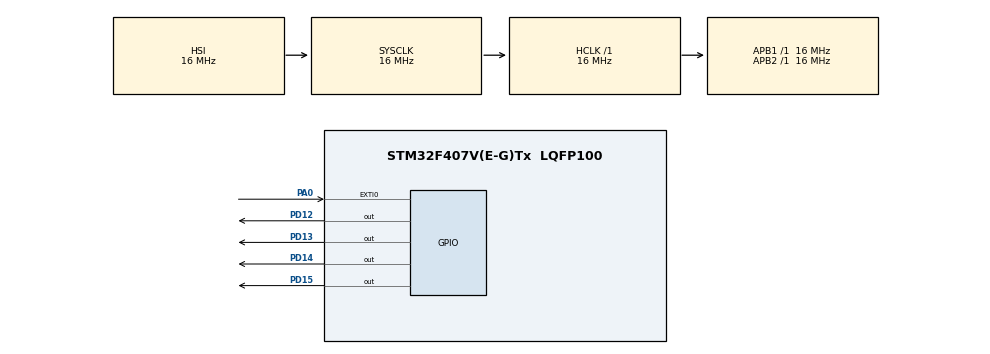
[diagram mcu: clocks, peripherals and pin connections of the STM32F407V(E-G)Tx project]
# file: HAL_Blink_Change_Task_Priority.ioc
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FREERTOS.Tasks01=Task1,1,128,Task1_Handler,Default,NULL,Dynamic,NULL,NULL;Task2,2,128,Task2_Handler,Default,NULL,Dynamic,NULL,NULL
Mcu.Family=STM32F4
Mcu.Name=STM32F407V(E-G)Tx
Mcu.Package=LQFP100
NVIC.EXTI0_IRQn=true\:5\:0\:false\:false\:true\:true\:true\:true\:true
NVIC.PriorityGroup=NVIC_PRIORITYGROUP_4
PA0-WKUP.Signal=GPXTI0
PD12.Signal=GPIO_Output
PD13.Signal=GPIO_Output
PD14.Signal=GPIO_Output
PD15.Signal=GPIO_Output
ProjectManager.HeapSize=0x200
ProjectManager.StackSize=0x400
ProjectManager.TargetToolchain=STM32CubeIDE
RCC.AHBFreq_Value=16000000
RCC.APB1Freq_Value=16000000
RCC.APB2Freq_Value=16000000
RCC.CortexFreq_Value=16000000
RCC.HSE_VALUE=25000000
RCC.HSI_VALUE=16000000
RCC.LSE_VALUE=32768
RCC.SYSCLKFreq_VALUE=16000000
RCC.VCOOutputFreq_Value=192000000
VP_FREERTOS_VS_CMSIS_V1.Mode=CMSIS_V1
board=custom

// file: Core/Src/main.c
/* USER CODE BEGIN Header */
/**
  ******************************************************************************
  * @file           : main.c
  * @brief          : Main program body
  ******************************************************************************
  * @attention
  *
  * Copyright (c) 2022 STMicroelectronics.
  * All rights reserved.
  *
  * This software is licensed under terms that can be found in the LICENSE file
  * in the root directory of this software component.
  * If no LICENSE file comes with this software, it is provided AS-IS.
  *
  ******************************************************************************
  */
/* USER CODE END Header */
#include "main.h"
#include "cmsis_os.h"

 osThreadId Task1Handle;
osThreadId Task2Handle;
/* USER CODE BEGIN PV */
uint8_t buttonState;
/* USER CODE END PV */

void SystemClock_Config(void);
static void MX_GPIO_Init(void);
void Task1_Handler(void const * argument);
void Task2_Handler(void const * argument);

int main(void)
{

  /* MCU Configuration--------------------------------------------------------*/

  /* Reset of all peripherals, Initializes the Flash interface and the Systick. */
  HAL_Init();

  /* Configure the system clock */
  SystemClock_Config();

  /* Initialize all configured peripherals */
  MX_GPIO_Init();

  /* Create the thread(s) */
  /* definition and creation of Task1 */
  osThreadDef(Task1, Task1_Handler, osPriorityAboveNormal, 0, 128);
  Task1Handle = osThreadCreate(osThread(Task1), NULL);

  /* definition and creation of Task2 */
  osThreadDef(Task2, Task2_Handler, osPriorityHigh, 0, 128);
  Task2Handle = osThreadCreate(osThread(Task2), NULL);

  /* Start scheduler */
  osKernelStart();

  /* We should never get here as control is now taken by the scheduler */
  /* Infinite loop */
  while (1)
  {

  }
}

void SystemClock_Config(void)
{
  RCC_OscInitTypeDef RCC_OscInitStruct = {0};
  RCC_ClkInitTypeDef RCC_ClkInitStruct = {0};

  /** Configure the main internal regulator output voltage
  */
  __HAL_RCC_PWR_CLK_ENABLE();
  __HAL_PWR_VOLTAGESCALING_CONFIG(PWR_REGULATOR_VOLTAGE_SCALE1);

  /** Initializes the RCC Oscillators according to the specified parameters
  * in the RCC_OscInitTypeDef structure.
  */
  RCC_OscInitStruct.OscillatorType = RCC_OSCILLATORTYPE_HSI;
  RCC_OscInitStruct.HSIState = RCC_HSI_ON;
  RCC_OscInitStruct.HSICalibrationValue = RCC_HSICALIBRATION_DEFAULT;
  RCC_OscInitStruct.PLL.PLLState = RCC_PLL_NONE;
  if (HAL_RCC_OscConfig(&RCC_OscInitStruct) != HAL_OK)
  {
    Error_Handler();
  }

  /** Initializes the CPU, AHB and APB buses clocks
  */
  RCC_ClkInitStruct.ClockType = RCC_CLOCKTYPE_HCLK|RCC_CLOCKTYPE_SYSCLK
                              |RCC_CLOCKTYPE_PCLK1|RCC_CLOCKTYPE_PCLK2;
  RCC_ClkInitStruct.SYSCLKSource = RCC_SYSCLKSOURCE_HSI;
  RCC_ClkInitStruct.AHBCLKDivider = RCC_SYSCLK_DIV1;
  RCC_ClkInitStruct.APB1CLKDivider = RCC_HCLK_DIV1;
  RCC_ClkInitStruct.APB2CLKDivider = RCC_HCLK_DIV1;

  if (HAL_RCC_ClockConfig(&RCC_ClkInitStruct, FLASH_LATENCY_0) != HAL_OK)
  {
    Error_Handler();
  }
}

static void MX_GPIO_Init(void)
{
  GPIO_InitTypeDef GPIO_InitStruct = {0};

  /* GPIO Ports Clock Enable */
  __HAL_RCC_GPIOA_CLK_ENABLE();
  __HAL_RCC_GPIOD_CLK_ENABLE();

  /*Configure GPIO pin Output Level */
  HAL_GPIO_WritePin(GPIOD, GPIO_PIN_12|GPIO_PIN_13|GPIO_PIN_14|GPIO_PIN_15, GPIO_PIN_RESET);

  /*Configure GPIO pin : PA0 */
  GPIO_InitStruct.Pin = GPIO_PIN_0;
  GPIO_InitStruct.Mode = GPIO_MODE_IT_RISING;
  GPIO_InitStruct.Pull = GPIO_NOPULL;
  HAL_GPIO_Init(GPIOA, &GPIO_InitStruct);

  /*Configure GPIO pins : PD12 PD13 PD14 PD15 */
  GPIO_InitStruct.Pin = GPIO_PIN_12|GPIO_PIN_13|GPIO_PIN_14|GPIO_PIN_15;
  GPIO_InitStruct.Mode = GPIO_MODE_OUTPUT_PP;
  GPIO_InitStruct.Pull = GPIO_NOPULL;
  GPIO_InitStruct.Speed = GPIO_SPEED_FREQ_LOW;
  HAL_GPIO_Init(GPIOD, &GPIO_InitStruct);

  /* EXTI interrupt init*/
  HAL_NVIC_SetPriority(EXTI0_IRQn, 5, 0);
  HAL_NVIC_EnableIRQ(EXTI0_IRQn);

}

void Task1_Handler(void const * argument)
{
  /* USER CODE BEGIN 5 */
  /* Infinite loop */

	HAL_GPIO_TogglePin(GPIOD, GPIO_PIN_12 | GPIO_PIN_13 | GPIO_PIN_14 | GPIO_PIN_15);
	HAL_Delay(250);

  for(;;)
  {
	  if(buttonState == 1)
	      		{
	      			buttonState == 0;

	      			p1 = osThreadGetPriority(Task1Handle);
	      			p2 = osThreadGetPriority(Task2Handle);

	      			osThreadSetPriority(Task1Handle,p2);
	      			osThreadSetPriority(Task2Handle,p1);

	      		}
  }
  /* USER CODE END 5 */
}

void Task2_Handler(void const * argument)
{
  /* USER CODE BEGIN Task2_Handler */
  /* Infinite loop */
	HAL_GPIO_TogglePin(GPIOD, GPIO_PIN_12 | GPIO_PIN_13 | GPIO_PIN_14 | GPIO_PIN_15);
	HAL_Delay(1000);

  for(;;)
  {
	  if(buttonState == 1)
		    			{
		    				p1 = osThreadGetPriority(Task1Handle);
		    				p2 = osThreadGetPriority(Task2Handle);

		    				osThreadSetPriority(Task1Handle, p2);
		    				osThreadSetPriority(Task2Handle, p1);
		    			}
  }
  /* USER CODE END Task2_Handler */
}

void Error_Handler(void)
{
  __disable_irq();
  while (1)
  {
  }
}
